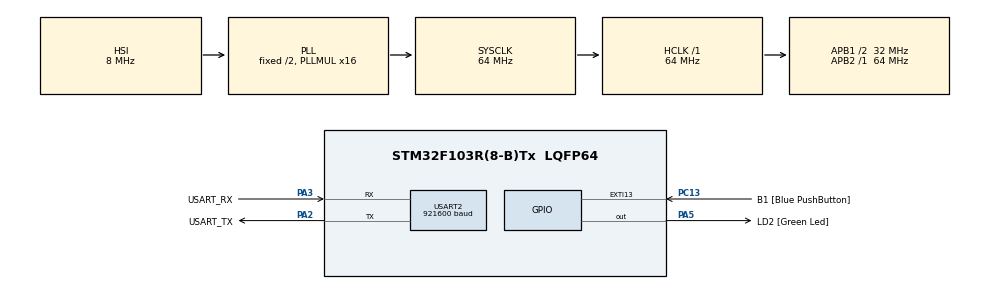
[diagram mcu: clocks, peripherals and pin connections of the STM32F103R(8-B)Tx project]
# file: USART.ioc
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Mcu.Family=STM32F1
Mcu.Name=STM32F103R(8-B)Tx
Mcu.Package=LQFP64
NVIC.EXTI15_10_IRQn=true\:0\:0\:false\:false\:true\:true\:true\:true
NVIC.PriorityGroup=NVIC_PRIORITYGROUP_4
PA13.GPIO_Label=TMS
PA13.Mode=Serial_Wire
PA13.Signal=SYS_JTMS-SWDIO
PA14.GPIO_Label=TCK
PA14.Mode=Serial_Wire
PA14.Signal=SYS_JTCK-SWCLK
PA2.GPIO_Label=USART_TX
PA2.GPIO_Mode=GPIO_MODE_AF_PP
PA2.GPIO_PuPd=GPIO_NOPULL
PA2.GPIO_Speed=GPIO_SPEED_FREQ_LOW
PA2.Mode=Asynchronous
PA2.Signal=USART2_TX
PA3.GPIO_Label=USART_RX
PA3.GPIO_Mode=GPIO_MODE_AF_PP
PA3.GPIO_PuPd=GPIO_NOPULL
PA3.GPIO_Speed=GPIO_SPEED_FREQ_LOW
PA3.Mode=Asynchronous
PA3.Signal=USART2_RX
PA5.GPIO_Label=LD2 [Green Led]
PA5.GPIO_ModeDefaultOutputPP=GPIO_MODE_OUTPUT_PP
PA5.GPIO_PuPd=GPIO_NOPULL
PA5.GPIO_Speed=GPIO_SPEED_FREQ_LOW
PA5.Signal=GPIO_Output
PB3.GPIO_Label=SWO
PB3.Signal=SYS_JTDO-TRACESWO
PC13-TAMPER-RTC.GPIO_Label=B1 [Blue PushButton]
PC13-TAMPER-RTC.GPIO_ModeDefaultEXTI=GPIO_MODE_IT_FALLING
PC13-TAMPER-RTC.GPIO_PuPd=GPIO_PULLUP
PC13-TAMPER-RTC.Signal=GPXTI13
PC14-OSC32_IN.Signal=RCC_OSC32_IN
PC15-OSC32_OUT.Signal=RCC_OSC32_OUT
PD0-OSC_IN.Signal=RCC_OSC_IN
PD1-OSC_OUT.Signal=RCC_OSC_OUT
ProjectManager.HeapSize=0x200
ProjectManager.StackSize=0x400
ProjectManager.TargetToolchain=STM32CubeIDE
RCC.AHBFreq_Value=64000000
RCC.APB1CLKDivider=RCC_HCLK_DIV2
RCC.APB1Freq_Value=32000000
RCC.APB1TimFreq_Value=64000000
RCC.APB2Freq_Value=64000000
RCC.APB2TimFreq_Value=64000000
RCC.HCLKFreq_Value=64000000
RCC.PLLMUL=RCC_PLL_MUL16
RCC.SYSCLKFreq_VALUE=64000000
RCC.SYSCLKSource=RCC_SYSCLKSOURCE_PLLCLK
RCC.USBFreq_Value=64000000
USART2.BaudRate=921600
USART2.VirtualMode=VM_ASYNC
board=NUCLEO-F103RB

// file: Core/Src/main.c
/* USER CODE BEGIN Header */
/**
  ******************************************************************************
  * @file           : main.c
  * @brief          : Main program body
  ******************************************************************************
  * @attention
  *
  * Copyright (c) 2024 STMicroelectronics.
  * All rights reserved.
  *
  * This software is licensed under terms that can be found in the LICENSE file
  * in the root directory of this software component.
  * If no LICENSE file comes with this software, it is provided AS-IS.
  *
  ******************************************************************************
  */
/* USER CODE END Header */
#include "main.h"

#include <stdio.h>

UART_HandleTypeDef huart2;

/* USER CODE BEGIN PV */
uint8_t gCnt;
/* USER CODE END PV */

void SystemClock_Config(void);
static void MX_GPIO_Init(void);
static void MX_USART2_UART_Init(void);

/* USER CODE BEGIN 0 */

int __io_putchar(int ch)
{
 if ( ch == '\n' )
	 HAL_UART_Transmit(&huart2, (uint8_t*)&"\r", 1, HAL_MAX_DELAY);
 HAL_UART_Transmit(&huart2, (uint8_t*)&ch, 1, HAL_MAX_DELAY);
 return ch;
}

void HAL_GPIO_EXTI_Callback(uint16_t GPIO_Pin)
{
	static uint32_t before_tick = 0;

	if (GPIO_Pin == GPIO_PIN_13) {
		if(HAL_GetTick() - before_tick >= 1500) {
		gCnt++;

		printf("Count : %02d\r\n", gCnt);
		if (gCnt == 100)
			gCnt = 0;
		}
	}
}
/* USER CODE END 0 */

int main(void)
{

  /* MCU Configuration--------------------------------------------------------*/

  /* Reset of all peripherals, Initializes the Flash interface and the Systick. */
  HAL_Init();

  /* Configure the system clock */
  SystemClock_Config();

  /* Initialize all configured peripherals */
  MX_GPIO_Init();
  MX_USART2_UART_Init();

  /* Infinite loop */
  /* USER CODE BEGIN WHILE */
  while (1)
  {
	  //printf("-- USART2_DEBUG_TEST! -\r\n");
	  printf("Tick: %d\r\n",HAL_GetTick());
	  HAL_GPIO_TogglePin(GPIOA, GPIO_PIN_5);
	  HAL_Delay(1000);
    /* USER CODE END WHILE */

  }
}

void SystemClock_Config(void)
{
  RCC_OscInitTypeDef RCC_OscInitStruct = {0};
  RCC_ClkInitTypeDef RCC_ClkInitStruct = {0};

  /** Initializes the RCC Oscillators according to the specified parameters
  * in the RCC_OscInitTypeDef structure.
  */
  RCC_OscInitStruct.OscillatorType = RCC_OSCILLATORTYPE_HSI;
  RCC_OscInitStruct.HSIState = RCC_HSI_ON;
  RCC_OscInitStruct.HSICalibrationValue = RCC_HSICALIBRATION_DEFAULT;
  RCC_OscInitStruct.PLL.PLLState = RCC_PLL_ON;
  RCC_OscInitStruct.PLL.PLLSource = RCC_PLLSOURCE_HSI_DIV2;
  RCC_OscInitStruct.PLL.PLLMUL = RCC_PLL_MUL16;
  if (HAL_RCC_OscConfig(&RCC_OscInitStruct) != HAL_OK)
  {
    Error_Handler();
  }

  /** Initializes the CPU, AHB and APB buses clocks
  */
  RCC_ClkInitStruct.ClockType = RCC_CLOCKTYPE_HCLK|RCC_CLOCKTYPE_SYSCLK
                              |RCC_CLOCKTYPE_PCLK1|RCC_CLOCKTYPE_PCLK2;
  RCC_ClkInitStruct.SYSCLKSource = RCC_SYSCLKSOURCE_PLLCLK;
  RCC_ClkInitStruct.AHBCLKDivider = RCC_SYSCLK_DIV1;
  RCC_ClkInitStruct.APB1CLKDivider = RCC_HCLK_DIV2;
  RCC_ClkInitStruct.APB2CLKDivider = RCC_HCLK_DIV1;

  if (HAL_RCC_ClockConfig(&RCC_ClkInitStruct, FLASH_LATENCY_2) != HAL_OK)
  {
    Error_Handler();
  }
}

static void MX_USART2_UART_Init(void)
{

  huart2.Instance = USART2;
  huart2.Init.BaudRate = 921600;
  huart2.Init.WordLength = UART_WORDLENGTH_8B;
  huart2.Init.StopBits = UART_STOPBITS_1;
  huart2.Init.Parity = UART_PARITY_NONE;
  huart2.Init.Mode = UART_MODE_TX_RX;
  huart2.Init.HwFlowCtl = UART_HWCONTROL_NONE;
  huart2.Init.OverSampling = UART_OVERSAMPLING_16;
  if (HAL_UART_Init(&huart2) != HAL_OK)
  {
    Error_Handler();
  }

}

static void MX_GPIO_Init(void)
{
  GPIO_InitTypeDef GPIO_InitStruct = {0};

  /* GPIO Ports Clock Enable */
  __HAL_RCC_GPIOC_CLK_ENABLE();
  __HAL_RCC_GPIOD_CLK_ENABLE();
  __HAL_RCC_GPIOA_CLK_ENABLE();
  __HAL_RCC_GPIOB_CLK_ENABLE();

  /*Configure GPIO pin Output Level */
  HAL_GPIO_WritePin(LD2_GPIO_Port, LD2_Pin, GPIO_PIN_RESET);

  /*Configure GPIO pin : B1_Pin */
  GPIO_InitStruct.Pin = B1_Pin;
  GPIO_InitStruct.Mode = GPIO_MODE_IT_FALLING;
  GPIO_InitStruct.Pull = GPIO_PULLUP;
  HAL_GPIO_Init(B1_GPIO_Port, &GPIO_InitStruct);

  /*Configure GPIO pin : LD2_Pin */
  GPIO_InitStruct.Pin = LD2_Pin;
  GPIO_InitStruct.Mode = GPIO_MODE_OUTPUT_PP;
  GPIO_InitStruct.Pull = GPIO_NOPULL;
  GPIO_InitStruct.Speed = GPIO_SPEED_FREQ_LOW;
  HAL_GPIO_Init(LD2_GPIO_Port, &GPIO_InitStruct);

  /* EXTI interrupt init*/
  HAL_NVIC_SetPriority(EXTI15_10_IRQn, 0, 0);
  HAL_NVIC_EnableIRQ(EXTI15_10_IRQn);

}

void Error_Handler(void)
{
  __disable_irq();
  while (1)
  {
  }
}
